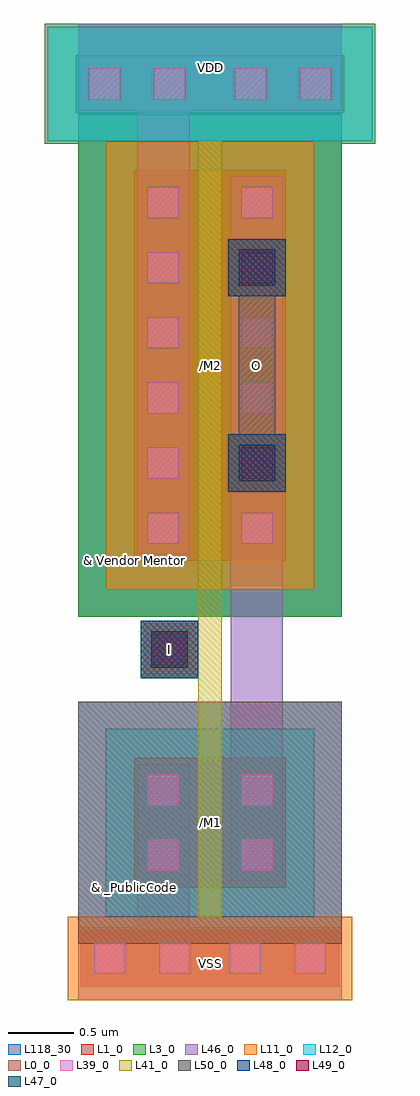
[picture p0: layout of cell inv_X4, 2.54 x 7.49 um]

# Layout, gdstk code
import gdstk
lib = gdstk.Library(unit=1e-6, precision=1e-09)
def R(c, l, rs):  # rectangles x0, y0, x1, y1
    for r in rs: c.add(gdstk.rectangle(r[:2], r[2:], *l))
def A(c, l, x, y, w, h, nx, ny, dx, dy):  # array of equal rectangles
    R(c, l, [(x+i*dx, y+j*dy, x+i*dx+w, y+j*dy+h) for i in range(nx) for j in range(ny)])
L0_0 = (0, 0)
L1_0 = (1, 0)
L3_0 = (3, 0)
L11_0 = (11, 0)
L12_0 = (12, 0)
L39_0 = (39, 0)
L41_0 = (41, 0)
L46_0 = (46, 0)
L47_0 = (47, 0)
L48_0 = (48, 0)
L49_0 = (49, 0)
L50_0 = (50, 0)
L118_30 = (118, 30)

m2m3 = lib.new_cell('M2M3')
R(m2m3, L48_0, [(-0.22,-0.22,0.22,0.22)])
R(m2m3, L49_0, [(-0.14,-0.14,0.14,0.14)])
R(m2m3, L50_0, [(-0.22,-0.22,0.22,0.22)])

m1m2 = lib.new_cell('M1M2')
R(m1m2, L46_0, [(-0.22,-0.22,0.22,0.22)])
R(m1m2, L47_0, [(-0.14,-0.14,0.14,0.14)])
R(m1m2, L48_0, [(-0.22,-0.22,0.22,0.22)])

mpoly = lib.new_cell('MPOLY')
R(mpoly, L39_0, [(-0.12,-0.12,0.12,0.12)])
R(mpoly, L41_0, [(-0.22,-0.22,0.22,0.22)])
R(mpoly, L46_0, [(-0.2,-0.2,0.2,0.2)])

inv_x4 = lib.new_cell('inv_X4')
R(inv_x4, L0_0, [(-0.34,-2.21,1.68,-0.35)])
R(inv_x4, L1_0, [(-0.32,-2.54,1.66,-2.1), (0.09,-1.78,1.25,-0.78), (0.09,-1.78,0.58,-0.78), (0.76,-1.78,1.25,-0.78), (0.09,0.73,1.25,3.73), (0.09,0.73,0.58,3.73), (0.76,0.73,1.25,3.73), (-0.36,4.17,1.7,4.61)])
R(inv_x4, L3_0, [(-0.34,0.3,1.68,4.16), (-0.6,3.93,1.94,4.85)])
R(inv_x4, L11_0, [(-0.42,-2.64,1.76,-2), (-0.13,0.51,1.47,3.95)])
R(inv_x4, L12_0, [(-0.13,-2,1.47,-0.56), (-0.58,3.95,1.92,4.83)])
A(inv_x4, L39_0, 0.19, 0.86, 0.24, 0.24, 1, 6, 0, 0.5)
A(inv_x4, L39_0, 0.91, 0.86, 0.24, 0.24, 1, 6, 0, 0.5)
R(inv_x4, L39_0, [(-0.22,-2.44,0.02,-2.2), (0.28,-2.44,0.52,-2.2), (0.82,-2.44,1.06,-2.2), (1.32,-2.44,1.56,-2.2), (0.19,-1.65,0.43,-1.41), (0.91,-1.65,1.15,-1.41), (0.19,-1.15,0.43,-0.91), (0.91,-1.15,1.15,-0.91), (-0.26,4.27,-0.02,4.51), (0.24,4.27,0.48,4.51), (0.86,4.27,1.1,4.51), (1.36,4.27,1.6,4.51)])
R(inv_x4, L41_0, [(0.58,-2,0.76,-1.78), (0.58,-1.78,0.76,-0.78), (0.58,-0.78,0.76,-0.56), (0.58,-0.74,0.76,0.69), (0.27,-0.04,0.57,0.14), (0.58,0.51,0.76,0.73), (0.58,0.73,0.76,3.73), (0.58,3.73,0.76,3.95)])
R(inv_x4, L46_0, [(-0.34,-2.64,1.68,-2.08), (-0.34,-2.56,1.68,-2.08), (0.11,-2.48,0.51,-1.33), (0.11,-1.73,0.51,-0.83), (0.83,-1.73,1.23,-0.83), (0.83,-1.23,1.23,1.18), (0.11,0.78,0.51,3.68), (0.83,0.78,1.23,3.68), (0.11,3.28,0.51,4.59), (-0.34,4.19,1.68,4.59), (-0.34,4.19,1.68,4.85)])
R(inv_x4, L50_0, [(0.14,-0.17,0.58,0.27), (0.89,1.34,1.17,3.12)])
R(inv_x4, L118_30, [(-0.34,-2.21,1.68,-0.35), (-0.34,0.3,1.68,4.16)])
inv_x4.add(gdstk.Reference(m2m3, (1.03,2.98)))
inv_x4.add(gdstk.Reference(m1m2, (0.36,0.05)))
inv_x4.add(gdstk.Reference(m1m2, (1.03,1.48)))
inv_x4.add(gdstk.Reference(m2m3, (0.36,0.05)))
inv_x4.add(gdstk.Reference(mpoly, (0.36,0.05)))
inv_x4.add(gdstk.Reference(m2m3, (1.03,1.48)))
inv_x4.add(gdstk.Reference(m1m2, (1.03,2.98)))
inv_x4.add(gdstk.Label('& _PublicCode', (0.09,-1.78), layer=63, texttype=63))
inv_x4.add(gdstk.Label('/M1', (0.67,-1.28), layer=85, texttype=0))
inv_x4.add(gdstk.Label('& Vendor Mentor', (0.09,-1.78), layer=63, texttype=63))
inv_x4.add(gdstk.Label('& Product UMC180FDKMFM', (0.09,-1.78), layer=63, texttype=63))
inv_x4.add(gdstk.Label('& Version A01', (0.09,-1.78), layer=63, texttype=63))
inv_x4.add(gdstk.Label('& Metric 0', (0.09,-1.78), layer=63, texttype=63))
inv_x4.add(gdstk.Label('/M2', (0.67,2.23), layer=85, texttype=0))
inv_x4.add(gdstk.Label('& Vendor Mentor', (0.09,0.73), layer=63, texttype=63))
inv_x4.add(gdstk.Label('& Product UMC180FDKMFM', (0.09,0.73), layer=63, texttype=63))
inv_x4.add(gdstk.Label('& Version A01', (0.09,0.73), layer=63, texttype=63))
inv_x4.add(gdstk.Label('& Metric 0', (0.09,0.73), layer=63, texttype=63))
inv_x4.add(gdstk.Label('& _PublicCode', (0.09,0.73), layer=63, texttype=63))
inv_x4.add(gdstk.Label('I', (0.36,0.05), layer=103, texttype=0))
inv_x4.add(gdstk.Label('O', (1.03,2.23), layer=103, texttype=0))
inv_x4.add(gdstk.Label('VSS', (0.67,-2.36), layer=101, texttype=0))
inv_x4.add(gdstk.Label('VDD', (0.67,4.52), layer=101, texttype=0))

lib.write_gds('inv_X4.gds')
